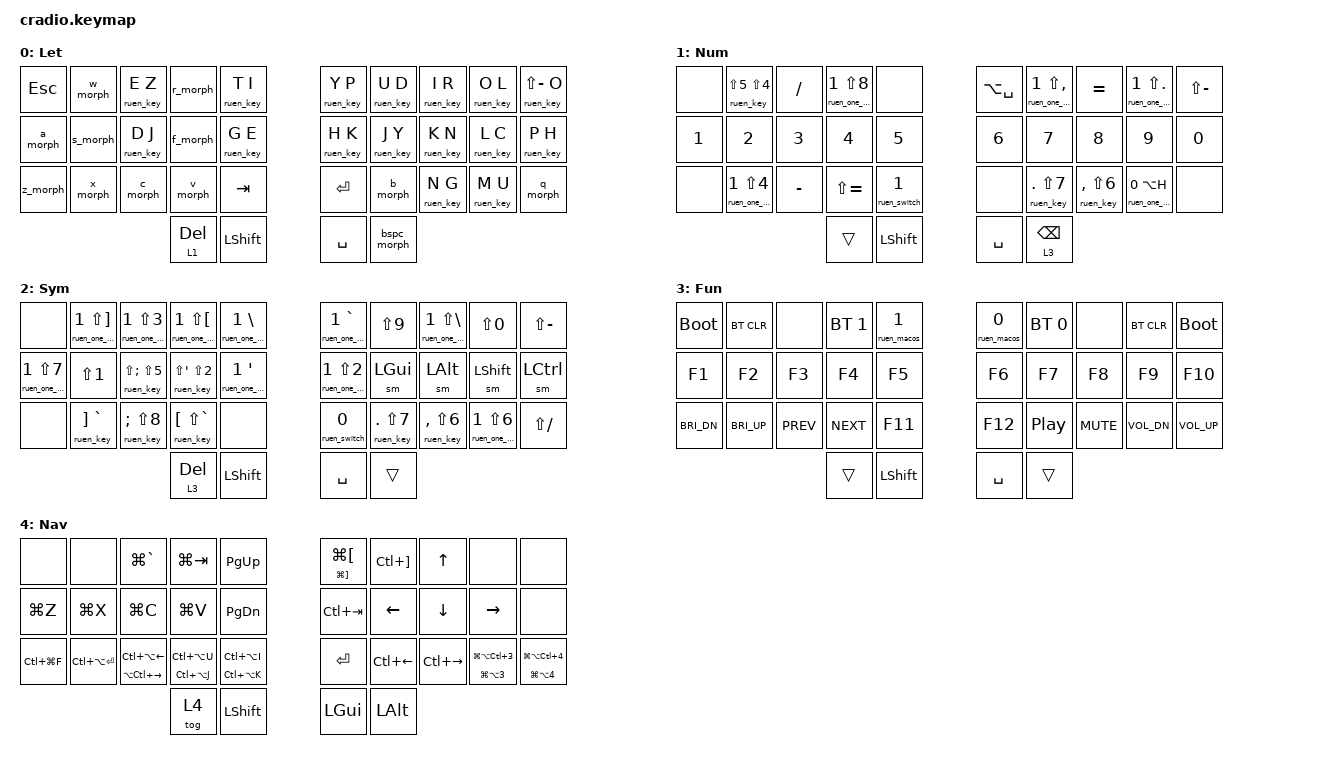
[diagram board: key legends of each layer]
#include <behaviors/ruen.dtsi>
#include <behaviors.dtsi>
#include <dt-bindings/zmk/bt.h>
#include <dt-bindings/zmk/keys.h>

/ {
    chosen { zmk,charmap = &charmap_us; };

    behaviors {
        ht: hold_tap {
            label = "hold_tap_letters";
            compatible = "zmk,behavior-hold-tap";
            #binding-cells = <2>;
            flavor = "tap-preferred";
            tapping-term-ms = <220>;
            quick-tap-ms = <150>;
            global-quick-tap;
            bindings = <&kp>, <&kp>;
        };

        sm: sticky_mod {
            compatible = "zmk,behavior-sticky-key";
            label = "STICKY_MOD";
            bindings = <&kp>;
            #binding-cells = <1>;
            release-after-ms = <5000>;
            quick-release;
            ignore-modifiers;
        };

        bspc_morph: bspc_morph {
            compatible = "zmk,behavior-mod-morph";
            label = "BACKSPACE_MORPH";
            bindings = <&lt 2 BACKSPACE>, <&lt 2 LA(BACKSPACE)>;

            #binding-cells = <0>;
            mods = <(MOD_LSFT)>;
        };

        q_morph: q_morph {
            compatible = "zmk,behavior-mod-morph";
            label = "Q_MORPH";
            bindings = <&ruen_key Q X>, <&kp LG(Q)>;

            #binding-cells = <0>;
            mods = <(MOD_LGUI)>;
        };

        a_morph: a_morph {
            compatible = "zmk,behavior-mod-morph";
            label = "A_MORPH";
            bindings = <&ruen_key A B>, <&kp LG(A)>;

            #binding-cells = <0>;
            mods = <(MOD_LGUI)>;
        };

        z_morph: z_morph {
            compatible = "zmk,behavior-mod-morph";
            label = "Z_MORPH";
            bindings = <&ruen_key Z COMMA>, <&kp LG(Z)>;

            #binding-cells = <0>;
            mods = <(MOD_LGUI)>;
        };

        w_morph: w_morph {
            compatible = "zmk,behavior-mod-morph";
            label = "W_MORPH";
            bindings = <&ruen_key W M>, <&kp LG(W)>;

            #binding-cells = <0>;
            mods = <(MOD_LGUI)>;
        };

        s_morph: s_morph {
            compatible = "zmk,behavior-mod-morph";
            label = "S_MORPH";
            bindings = <&ruen_key S T>, <&kp LG(S)>;

            #binding-cells = <0>;
            mods = <(MOD_LGUI)>;
        };

        x_morph: x_morph {
            compatible = "zmk,behavior-mod-morph";
            label = "X_MORPH";
            bindings = <&ruen_key X A>, <&kp LG(X)>;

            #binding-cells = <0>;
            mods = <(MOD_LGUI)>;
        };

        c_morph: c_morph {
            compatible = "zmk,behavior-mod-morph";
            label = "C_MORPH";
            bindings = <&ruen_key C LBKT>, <&kp LG(C)>;

            #binding-cells = <0>;
            mods = <(MOD_LGUI)>;
        };

        r_morph: r_morph {
            compatible = "zmk,behavior-mod-morph";
            label = "R_MORPH";
            bindings = <&ruen_key R Q>, <&kp LG(R)>;

            #binding-cells = <0>;
            mods = <(MOD_LGUI)>;
        };

        f_morph: f_morph {
            compatible = "zmk,behavior-mod-morph";
            label = "F_MORPH";
            bindings = <&ruen_key F F>, <&kp LG(F)>;

            #binding-cells = <0>;
            mods = <(MOD_LGUI)>;
        };

        v_morph: v_morph {
            compatible = "zmk,behavior-mod-morph";
            label = "V_MORPH";
            bindings = <&ruen_key V S>, <&kp LG(V)>;

            #binding-cells = <0>;
            mods = <(MOD_LGUI)>;
        };

        b_morph: b_morph {
            compatible = "zmk,behavior-mod-morph";
            label = "B_MORPH";
            bindings = <&ruen_key B V>, <&kp LG(B)>;

            #binding-cells = <0>;
            mods = <(MOD_LGUI)>;
        };
    };

    conditional_layers { compatible = "zmk,conditional-layers"; };

    combos {
        compatible = "zmk,combos";

        tg4 {
            bindings = <&tog 4>;
            key-positions = <31 32>;
            layers = <0>;
        };

        cmd {
            bindings = <&kp LEFT_GUI>;
            key-positions = <30 31>;
            layers = <0 1>;
        };

        ZH {
            bindings = <&ruen_key F24 SEMI>;
            key-positions = <26 27>;
            layers = <0>;
        };

        YU {
            bindings = <&ruen_key F24 DOT>;
            key-positions = <22 23>;
            layers = <0>;
        };

        IE {
            bindings = <&ruen_key F24 SQT>;
            key-positions = <21 22>;
            layers = <0>;
        };

        TS {
            bindings = <&ruen_key F24 W>;
            key-positions = <27 28>;
            layers = <0>;
        };

        HARD {
            bindings = <&ruen_key F24 RBKT>;
            key-positions = <28 29>;
            layers = <0>;
        };
    };

    macros {
        ruen_to_en: ruen_to_en {
            compatible = "zmk,behavior-macro";
            #binding-cells = <0>;
            bindings = <&kp LG(N8)>;
        }; 

        ruen_to_ru: ruen_to_ru {
            compatible = "zmk,behavior-macro";
            #binding-cells = <0>;
            bindings = <&kp LG(N9)>;
        };
    };

    keymap {
        compatible = "zmk,keymap";

        Let {
            bindings = <
&kp ESCAPE  &w_morph  &ruen_key E Z  &r_morph      &ruen_key T I  &ruen_key Y P  &ruen_key U D  &ruen_key I R  &ruen_key O L  &ruen_key LS(MINUS) O
&a_morph    &s_morph  &ruen_key D J  &f_morph      &ruen_key G E  &ruen_key H K  &ruen_key J Y  &ruen_key K N  &ruen_key L C  &ruen_key P H
&z_morph    &x_morph  &c_morph       &v_morph      &kp TAB        &kp ENTER      &b_morph       &ruen_key N G  &ruen_key M U  &q_morph
                                     &lt 1 DELETE  &kp LSHIFT     &kp SPACE      &bspc_morph
            >;
        };

        Num {
            bindings = <
&none   &ruen_key LS(N5) LS(N4)  &kp SLASH  &ruen_one_key 1 LS(N8)  &none           &kp LA(SPACE)  &ruen_one_key 1 LS(COMMA)  &kp EQUAL               &ruen_one_key 1 LS(PERIOD)  &kp LS(MINUS)
&kp N1  &kp N2                   &kp N3     &kp N4                  &kp N5          &kp N6         &kp N7                     &kp N8                  &kp N9                      &kp N0
&none   &ruen_one_key 1 LS(N4)   &kp MINUS  &kp LS(EQUAL)           &ruen_switch 1  &none          &ruen_key PERIOD LS(N7)    &ruen_key COMMA LS(N6)  &ruen_one_key 0 LA(H)       &none
                                            &trans                  &kp LEFT_SHIFT  &kp SPACE      &lt 3 BACKSPACE
            >;
        };

        Sym {
            bindings = <
&none                   &ruen_one_key 1 LS(RIGHT_BRACKET)  &ruen_one_key 1 LS(N3)          &ruen_one_key 1 LS(LEFT_BRACKET)  &ruen_one_key 1 BACKSLASH  &ruen_one_key 1 GRAVE   &kp LS(N9)               &ruen_one_key 1 LS(BACKSLASH)  &kp LS(N0)              &kp LS(MINUS)
&ruen_one_key 1 LS(N7)  &kp LS(N1)                         &ruen_key LS(SEMICOLON) LS(N5)  &ruen_key LS(SQT) LS(N2)          &ruen_one_key 1 SQT        &ruen_one_key 1 LS(N2)  &sm LEFT_GUI             &sm LEFT_ALT                   &sm LEFT_SHIFT          &sm LCTRL
&none                   &ruen_key RIGHT_BRACKET GRAVE      &ruen_key SEMICOLON LS(N8)      &ruen_key LEFT_BRACKET LS(GRAVE)  &none                      &ruen_switch 0          &ruen_key PERIOD LS(N7)  &ruen_key COMMA LS(N6)         &ruen_one_key 1 LS(N6)  &kp LS(SLASH)
                                                                                           &lt 3 DELETE                      &kp LEFT_SHIFT             &kp SPACE               &trans
            >;
        };

        Fun {
            bindings = <
&bootloader   &bt BT_CLR    &none       &bt BT_SEL 1  &ruen_macos 1   &ruen_macos 0  &bt BT_SEL 0  &none       &bt BT_CLR    &bootloader
&kp F1        &kp F2        &kp F3      &kp F4        &kp F5          &kp F6         &kp F7        &kp F8      &kp F9        &kp F10
&kp C_BRI_DN  &kp C_BRI_UP  &kp C_PREV  &kp C_NEXT    &kp F11         &kp F12        &kp C_PP      &kp C_MUTE  &kp C_VOL_DN  &kp C_VOL_UP
                                        &trans        &kp LEFT_SHIFT  &kp SPACE      &trans
            >;
        };

        Nav {
            bindings = <
&none          &none              &kp LG(GRAVE)                   &kp LG(TAB)              &kp PAGE_UP              &ht LG(RIGHT_BRACKET) LG(LEFT_BRACKET)  &kp LC(RIGHT_BRACKET)  &kp UP         &none                                      &none
&kp LG(Z)      &kp LG(X)          &kp LG(C)                       &kp LG(V)                &kp PAGE_DOWN            &kp LC(TAB)                             &kp LEFT               &kp DOWN       &kp RIGHT                                  &none
&kp LC(LG(F))  &kp LC(LA(ENTER))  &ht LA(LC(RIGHT)) LC(LA(LEFT))  &ht LC(LA(J)) LC(LA(U))  &ht LC(LA(K)) LC(LA(I))  &kp ENTER                               &kp LC(LEFT)           &kp LC(RIGHT)  &ht LG(LA(NUMBER_3)) LG(LA(LC(NUMBER_3)))  &ht LG(LA(NUMBER_4)) LG(LA(LC(NUMBER_4)))
                                                                  &tog 4                   &kp LEFT_SHIFT           &kp LEFT_GUI                            &kp LEFT_ALT
            >;
        };
    };
};
